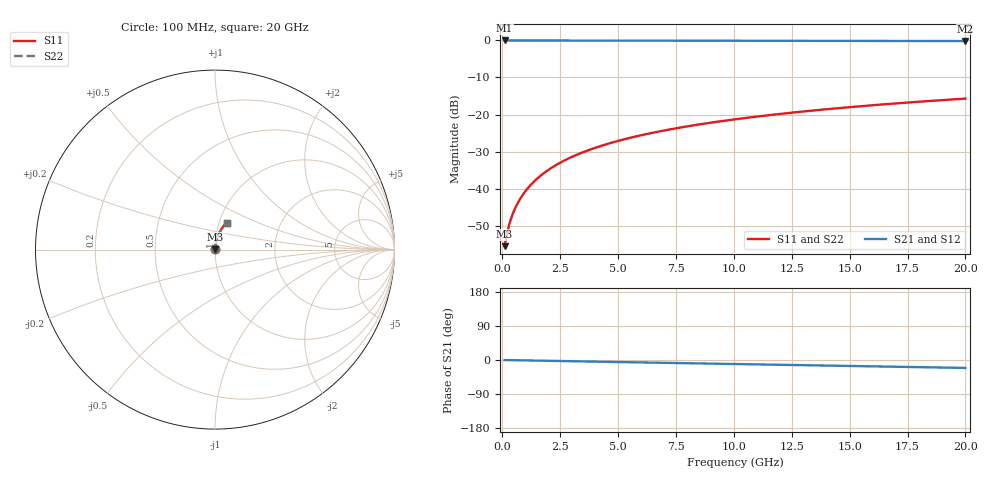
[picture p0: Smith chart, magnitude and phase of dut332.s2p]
! Touchstone file exported from HFSS 2026.1.0
!  File:  C:/ffzhzh/LocalFiles/Ansys_Project_Files/temp_train_BSMRDL_332_1783011027_55676.aedt
!  Generated:  12:51:53 AM Jul  3, 2026
!  Design:  BSMRDL
!  Project:  temp_train_BSMRDL_332_1783011027_55676
! Variables:
!  h_bsmrdl = 3.75um
!  h_ox = 20um
!  h_rdl = 5um
!  h_sub = 80um
!  h_tmrdl = 5um
!  h_tsv = 80um
!  h_via = 3um
!  l_bsmrdl = 300.86um
!  l_sub = 700.86um
!  l_tmrdl = 200um
!  m_sub = 200um
!  pitch = 44.47um
!  r_tsv = 6um
!  s_tmrdl = 10um
!  w_bsmrdl = 26.28um
!  w_sub = 500um
!  w_tmrdl = 12um
!  x_tsv_center1 = 206um
!  x_tsv_center2 = 533.14um
!  x_tsv_center3 = 745.14um
!  x_tsv_center4 = 1072.28um
!  x_tsv_center5 = 1284.28um
!  x_tsv_center6 = 1611.42um
# GHz S MA R 50.000000
! Terminal data exported
! Port[1] = BSM_RDL1_1_T1
! Port[2] = BSM_RDL1_1_T2
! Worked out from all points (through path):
!   200 points, 100 MHz to 20 GHz, reference 50 ohm
!   highest |S21| = -0.01 dB at 100 MHz (marker M1); lowest = -0.2 dB at 20 GHz (marker M2)
!   group delay of S21, straight-line fit = 2.9 ps
!   lowest |S11| = -55.5 dB at 100 MHz (marker M3), VSWR 1.00, Z = 50.1 + j0.103 ohm
!   |S11| at or under -10 dB: start of sweep to end of sweep
!   |S22| runs from -55.5 to -15.7 dB; largest |S21 - S12| = 4.1e-15
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0.1  0.001676 38.0  0.9987 -0.1  0.9987 -0.1  0.001676 38.0
! Gamma 0 0 0 0
! Port Impedance 50 0 50 0
0.2  0.00246 54.7  0.9986 -0.2  0.9986 -0.2  0.00246 54.7
0.3  0.003302 62.5  0.9985 -0.3  0.9985 -0.3  0.003302 62.5
0.4  0.004144 67.1  0.9984 -0.4  0.9984 -0.4  0.004144 67.1
0.5  0.004986 70.2  0.9984 -0.6  0.9984 -0.6  0.004986 70.2
0.6  0.005831 72.5  0.9983 -0.7  0.9983 -0.7  0.005831 72.5
0.8  0.007538 75.7  0.9982 -0.9  0.9982 -0.9  0.007538 75.7
1.1  0.01013 78.5  0.9982 -1.2  0.9982 -1.2  0.01013 78.5
1.3  0.01188 79.6  0.9981 -1.4  0.9981 -1.4  0.01188 79.6
1.6  0.0145 80.7  0.998 -1.7  0.998 -1.7  0.0145 80.7
2.1  0.0189 81.6  0.9978 -2.3  0.9978 -2.3  0.0189 81.6
2.7  0.02416 82.0  0.9976 -2.9  0.9976 -2.9  0.02416 82.0
3.5  0.03115 81.8  0.9971 -3.8  0.9971 -3.8  0.03115 81.8
4.2  0.03721 81.5  0.9967 -4.5  0.9967 -4.5  0.03721 81.5
5  0.04409 80.9  0.9962 -5.4  0.9962 -5.4  0.04409 80.9
5.9  0.05175 80.2  0.9955 -6.3  0.9955 -6.3  0.05175 80.2
6.8  0.05934 79.4  0.9948 -7.3  0.9948 -7.3  0.05934 79.4
8.3  0.07184 78.0  0.9935 -8.8  0.9935 -8.8  0.07184 78.0
10.1  0.08662 76.3  0.9918 -10.7  0.9918 -10.7  0.08662 76.3
13.4  0.1132 73.2  0.9884 -14.1  0.9884 -14.1  0.1132 73.2
16.7  0.139 70.1  0.9845 -17.5  0.9845 -17.5  0.139 70.1
20  0.1641 66.9  0.9801 -20.9  0.9801 -20.9  0.1641 66.9
